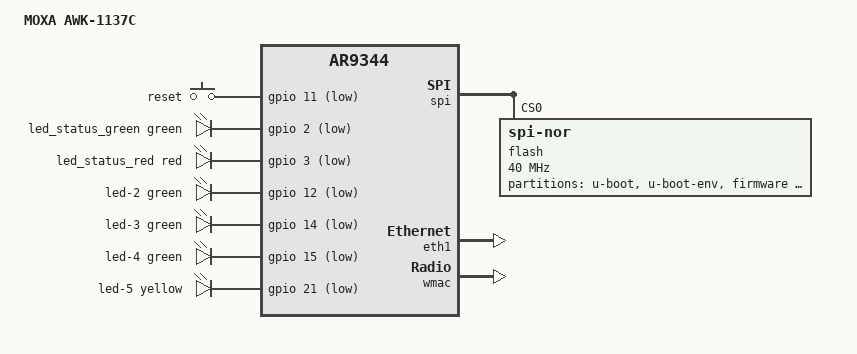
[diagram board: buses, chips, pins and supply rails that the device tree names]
// SPDX-License-Identifier: GPL-2.0-or-later OR MIT

#include "ar9344.dtsi"

#include <dt-bindings/gpio/gpio.h>
#include <dt-bindings/input/input.h>
#include <dt-bindings/leds/common.h>

/ {
	compatible = "moxa,awk-1137c", "qca,ar9344";
	model = "MOXA AWK-1137C";

	aliases {
		led-boot = &led_status_red;
		led-failsafe = &led_status_red;
		led-running = &led_status_green;
		led-upgrade = &led_status_red;
		label-mac-device = &eth1;
	};

	keys {
		compatible = "gpio-keys";

		reset {
			label = "reset";
			linux,code = <KEY_RESTART>;
			gpios = <&gpio 11 GPIO_ACTIVE_LOW>;
		};
	};

	leds {
		compatible = "gpio-leds";

		pinctrl-names = "default";

		led_status_green: led-0 {
			color = <LED_COLOR_ID_GREEN>;
			function = LED_FUNCTION_STATUS;
			function-enumerator = <0>;
			gpios = <&gpio 2 GPIO_ACTIVE_LOW>;
		};

		led_status_red: led-1 {
			color = <LED_COLOR_ID_RED>;
			function = LED_FUNCTION_STATUS;
			function-enumerator = <1>;
			gpios = <&gpio 3 GPIO_ACTIVE_LOW>;
		};

		led-2 {
			color = <LED_COLOR_ID_GREEN>;
			function = LED_FUNCTION_WLAN;
			function-enumerator = <0>;
			gpios = <&gpio 12 GPIO_ACTIVE_LOW>;
			linux,default-trigger = "phy0tpt";
		};

		led-3 {
			color = <LED_COLOR_ID_GREEN>;
			function = LED_FUNCTION_WAN;
			gpios = <&gpio 14 GPIO_ACTIVE_LOW>;
		};

		led-4 {
			color = <LED_COLOR_ID_GREEN>;
			function = LED_FUNCTION_LAN;
			gpios = <&gpio 15 GPIO_ACTIVE_LOW>;
		};

		led-5 {
			color = <LED_COLOR_ID_YELLOW>;
			function = LED_FUNCTION_WLAN;
			function-enumerator = <1>;
			gpios = <&gpio 21 GPIO_ACTIVE_LOW>;
			linux,default-trigger = "phy0assoc";
		};
	};
};

&ref {
	clock-frequency = <40000000>;
};

&spi {
	status = "okay";

	flash@0 {
		compatible = "jedec,spi-nor";
		reg = <0>;
		spi-max-frequency = <40000000>;

		partitions {
			compatible = "fixed-partitions";
			#address-cells = <1>;
			#size-cells = <1>;

			partition@0 {
				label = "u-boot";
				reg = <0x000000 0x040000>;
				read-only;
			};

			partition@40000 {
				label = "u-boot-env";
				reg = <0x040000 0x010000>;
			};

			partition@50000 {
				label = "firmware";
				reg = <0x050000 0xe00000>;
				compatible = "denx,uimage";
			};

			partition@e50000 {
				label = "log1";
				reg = <0xe50000 0x020000>;
				read-only;
			};

			partition@e70000 {
				label = "log2";
				reg = <0xe70000 0x020000>;
				read-only;
			};

			partition@e90000 {
				label = "version";
				reg = <0xe90000 0x020000>;
				read-only;
			};

			partition@eb0000 {
				label = "config1";
				reg = <0xeb0000 0x020000>;
				read-only;
			};

			partition@ed0000 {
				label = "config2";
				reg = <0xed0000 0x020000>;
				read-only;
			};

			partition@ef0000 {
				label = "config-data";
				reg = <0xef0000 0x0c0000>;
				read-only;
			};

			partition@fb0000 {
				label = "mib0";
				reg = <0xfb0000 0x030000>;
				read-only;
			};

			partition@fe0000 {
				label = "art";
				reg = <0xfe0000 0x010000>;
				read-only;
			};

			partition@ff0000 {
				label = "fis";
				reg = <0xff0000 0x010000>;
				read-only;
			};
		};
	};
};

&eth1 {
	status = "okay";
};

&wmac {
	status = "okay";
	qca,no-eeprom;
};
